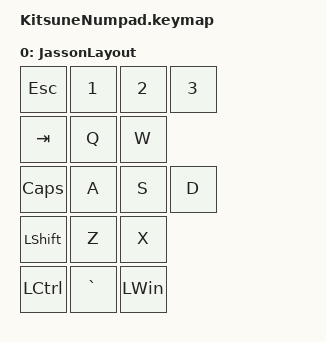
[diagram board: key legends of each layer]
#include <behaviors.dtsi>
#include <dt-bindings/zmk/keys.h>
#include <dt-bindings/zmk/bt.h>
#include <dt-bindings/zmk/outputs.h>

/ {  
    keymap {
        compatible = "zmk,keymap";
        display-name = "BASE";
        JassonLayout {

            bindings = <
&kp ESC           &kp N1     &kp N2        &kp N3      
&kp TAB           &kp Q      &kp W
&kp CAPSLOCK      &kp A      &kp S         &kp D
&kp LEFT_SHIFT    &kp Z      &kp X
&kp LEFT_CONTROL  &kp GRAVE  &kp LEFT_WIN
            >;
        };

    };
};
